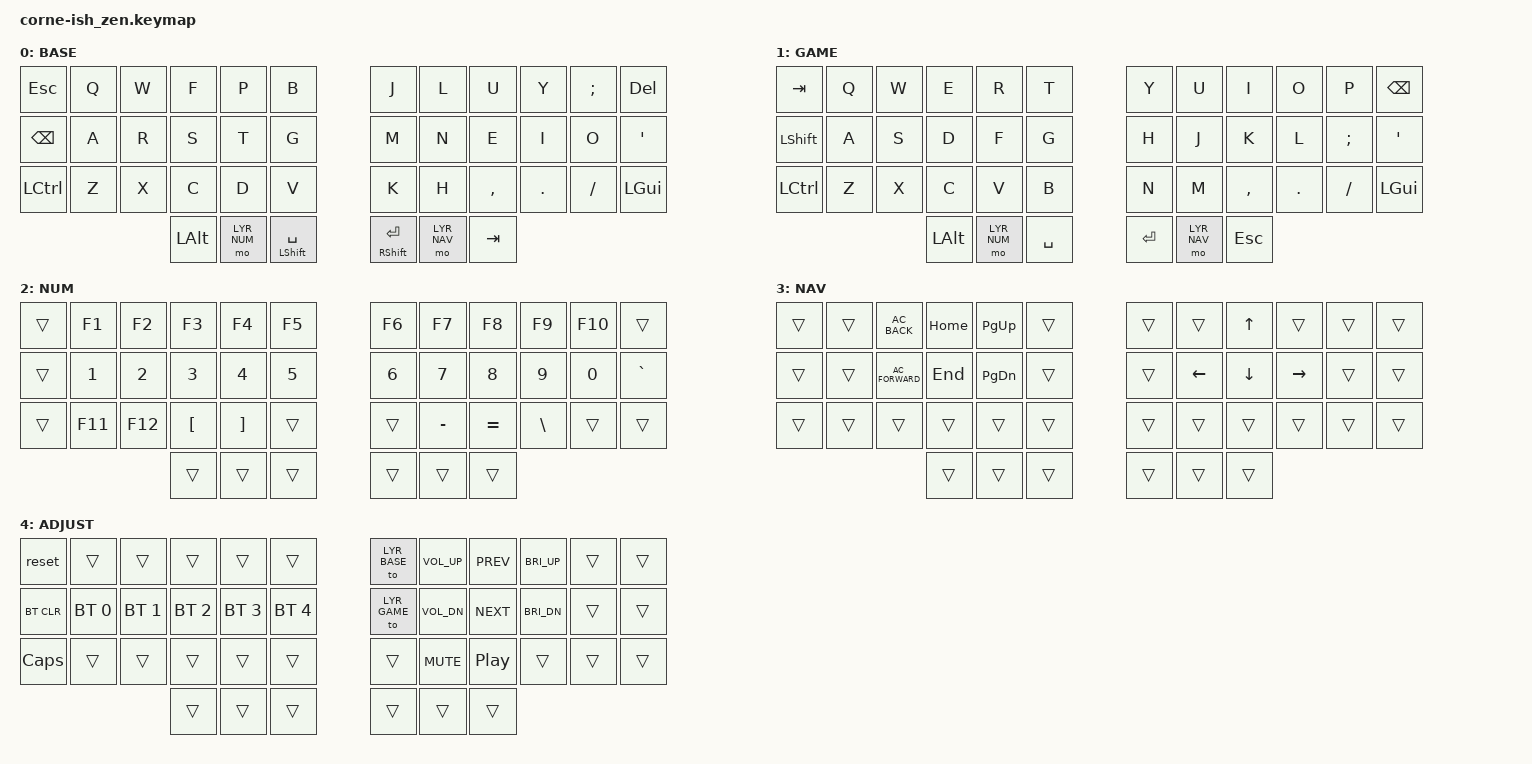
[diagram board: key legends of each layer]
/*
*
* Copyright (c) 2021 Darryl deHaan
* SPDX-License-Identifier: MIT
*
*/

#include <behaviors.dtsi>
#include <dt-bindings/zmk/keys.h>
#include <dt-bindings/zmk/bt.h>

#define LYR_BASE 0
#define LYR_GAME 1
#define LYR_NUM 2
#define LYR_NAV 3
#define LYR_ADJ 4

&mt {
        quick-tap-ms = <200>;
};

/ {
        keymap {
                compatible = "zmk,keymap";

                base_layer {
                        label = "BASE";
// -----------------------------------------------------------------------------------------
// | ESC  |  Q  |  W  |  F  |  P  |  B  |     |  J  |  L  |  U  |  Y  |  ;  | DEL |
// | BSPC |  A  |  R  |  S  |  T  |  G  |     |  M  |  N  |  E  |  I  |  O  |  '  |
// | CTRL |  Z  |  X  |  C  |  D  |  V  |     |  K  |  H  |  ,  |  .  |  /  | GUI |
//                | ALT | NUM | SHF/SPC |     | SHF/RET | NAV | TAB |
//                          \-------------ADJ-------------/
                        bindings = <
   &kp ESC   &kp Q &kp W &kp F &kp P &kp B    &kp J &kp L  &kp U     &kp Y   &kp SEMI &kp DEL
   &kp BSPC  &kp A &kp R &kp S &kp T &kp G    &kp M &kp N  &kp E     &kp I   &kp O    &kp SQT
   &kp LCTRL &kp Z &kp X &kp C &kp D &kp V    &kp K &kp H  &kp COMMA &kp DOT &kp FSLH &kp LGUI
      &kp LALT &mo LYR_NUM &mt LSHFT SPACE    &mt RSHFT RET &mo LYR_NAV &kp TAB
                        >;
                };

                game_layer {
                        label = "GAME";
// -----------------------------------------------------------------------------------------
// | TAB  |  Q  |  W  |  E  |  R  |  T  |     |  Y  |  U  |  I  |  O  |  P  | BSPC |
// | SHFT |  A  |  S  |  D  |  F  |  G  |     |  H  |  J  |  K  |  L  |  ;  |  '   |
// | CTRL |  Z  |  X  |  C  |  V  |  B  |     |  N  |  M  |  ,  |  .  |  /  | GUI  |
//                    | ALT | NUM | SPC |     | RET | NAV | ESC |
//                              \---------ADJ---------/
                        bindings = <
   &kp TAB   &kp Q &kp W &kp E &kp R &kp T    &kp Y &kp U  &kp I     &kp O   &kp P    &kp BSPC
   &kp LSHFT &kp A &kp S &kp D &kp F &kp G    &kp H &kp J  &kp K     &kp L   &kp SEMI &kp SQT
   &kp LCTRL &kp Z &kp X &kp C &kp V &kp B    &kp N &kp M  &kp COMMA &kp DOT &kp FSLH &kp LGUI
            &kp LALT &mo LYR_NUM &kp SPACE    &kp RET &mo LYR_NAV &kp ESC
                        >;
                };

                number_layer {
                        label = "NUM";
// -----------------------------------------------------------------------------------------
// |      | F1  | F2  | F3  | F4  | F5  |   | F6  | F7  | F8  | F9  | F10 |     |
// |      |  1  |  2  |  3  |  4  |  5  |   |  6  |  7  |  8  |  9  |  0  |  `  |
// |      | F11 | F12 |  [  |  ]  |     |   |     |  -  |  =  |  \  |     |     |
//                    |     |     |     |   |     |     |     |
                        bindings = <
   &trans  &kp F1  &kp F2  &kp F3   &kp F4   &kp F5     &kp F6  &kp F7    &kp F8    &kp F9    &kp F10  &trans
   &trans  &kp N1  &kp N2  &kp N3   &kp N4   &kp N5     &kp N6  &kp N7    &kp N8    &kp N9    &kp N0   &kp GRAVE
   &trans  &kp F11 &kp F12 &kp LBKT &kp RBKT &trans     &trans  &kp MINUS &kp EQUAL &kp BSLH  &trans   &trans
                             &trans  &trans  &trans     &trans  &trans    &trans
                        >;
                };

                nav_layer {
                        label = "NAV";
// -----------------------------------------------------------------------------------------
// |      |     | BACK| HOME| PGUP|     |   |     |     | UP  |     |     |      |
// |      |     | FWD | END | PGDN|     |   |     | LT  | DN  | RT  |     |      |
// |      |     |     |     |     |     |   |     |     |     |     |     |      |
//                    |     |     |     |   |     |     |     |
                        bindings = <
   &trans  &trans  &kp C_AC_BACK    &kp HOME &kp PG_UP &trans      &trans  &trans   &kp UP   &trans    &trans  &trans
   &trans  &trans  &kp C_AC_FORWARD &kp END  &kp PG_DN &trans      &trans  &kp LEFT &kp DOWN &kp RIGHT &trans  &trans
   &trans  &trans  &trans           &trans   &trans    &trans      &trans  &trans   &trans   &trans    &trans  &trans
                    	            &trans   &trans    &trans      &trans  &trans   &trans
                        >;
                };

                adjust_layer {
                        label = "ADJUST";
// -----------------------------------------------------------------------------------------
// | RESET|     |     |     |     |     |   |BASE |VL_UP|PREV |BR_UP|     |      |
// | BTCLR| BT1 | BT2 | BT3 | BT4 | BT5 |   |GAME |VL_DN|NEXT |BR_DN|     |      |
// | CAPS |     |     |     |     |     |   |     |MUTE | P/P |     |     |      |
//                    |     |     |     |   |     |     |     |
                        bindings = <
   &reset     &trans       &trans       &trans       &trans       &trans         &to LYR_BASE &kp C_VOL_UP &kp C_PREV &kp C_BRI_UP &trans  &trans
   &bt BT_CLR &bt BT_SEL 0 &bt BT_SEL 1 &bt BT_SEL 2 &bt BT_SEL 3 &bt BT_SEL 4   &to LYR_GAME &kp C_VOL_DN &kp C_NEXT &kp C_BRI_DN &trans  &trans
   &kp CAPS   &trans       &trans       &trans       &trans       &trans         &trans       &kp C_MUTE   &kp C_PP   &trans  &trans  &trans
                          	        &trans       &trans       &trans         &trans       &trans  &trans
                        >;
                };

        };
};

/ {
    conditional_layers {
        compatible = "zmk,conditional-layers";
        tri_layer {
            if-layers = <LYR_NUM LYR_NAV>;
            then-layer = <LYR_ADJ>;
        };
    };
};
